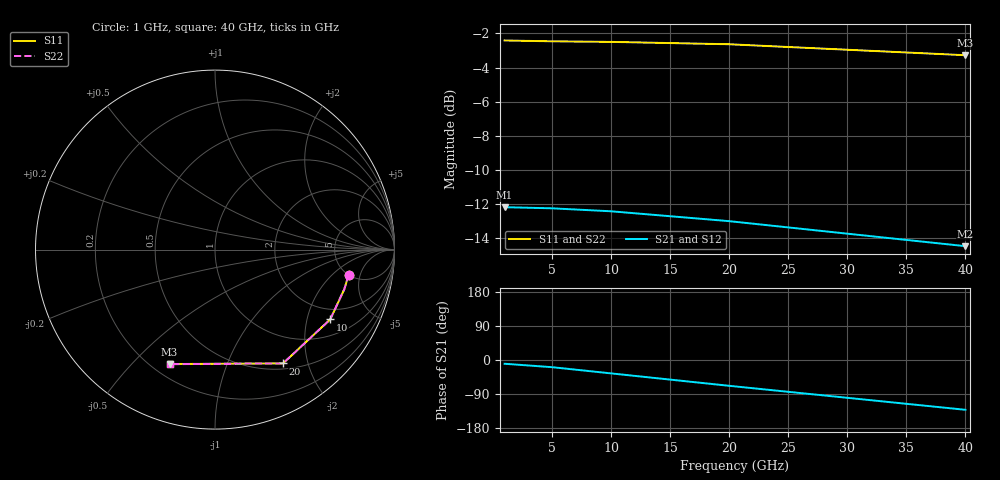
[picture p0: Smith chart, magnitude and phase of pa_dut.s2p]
! Generated by circuitRF - EM: Palace
! circuitRF-EM setup: g_zigzag_sheets
! circuitRF-EM layout: zigzag/layout/zigzag.clay
! circuitRF-EM written: 2026-11-04 16:00:29Z
! circuitRF-EM geometry: 4e1498247edd71e5
! circuitRF-EM mesh: be36879526fbbc1a
! circuitRF-EM ports: 8f8a5211b34b08b4
! circuitRF-EM model: Palace 0.18.1 (0dc74cd, schema 1-7-0)
! Port[1] = port/1
! Port[2] = port/2
! circuitRF-EM port 1: 'port/1' from 'airbox/zmin' to 'Metal1/1', wave (mode 1), 50 Ohm: Palace's S is referred to the mode's own impedance Z_PV, renormalised here to 50 Ohm; reference plane 0 um into the structure from the port face
! circuitRF-EM port 2: 'port/2' from 'airbox/zmin' to 'Metal1/2', wave (mode 1), 50 Ohm: Palace's S is referred to the mode's own impedance Z_PV, renormalised here to 50 Ohm; reference plane 0 um into the structure from the port face
! circuitRF-EM 3D mesh: 14,700 elements initially, 14,700 finally, 0 adaptive pass(es), element order 2
! circuitRF-EM 3D operating temperature: 20 C
! circuitRF-EM 3D run: preset Standard; 14700 -> 14700 tetrahedra; 101994 unknowns; 0 refinement pass(es); 5 frequency sample(s)
! circuitRF-EM 3D run cost: wall 137 s; Palace peak memory 1.8 GB
! circuitRF-EM 3D DC row: circuitRF conduction solve of the conductors, 472 elements, 0.21 s; ports as terminal pairs
! circuitRF-EM: re-running the EM setup rewrites this file. If circuitRF reports it as stale, the layout's cross-section changed after this file was written.
# GHz S RI R 50
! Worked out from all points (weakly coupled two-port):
!   5 points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, 1 GHz to 40 GHz, reference 50 ohm
!   highest |S21| = -12.18 dB at 1 GHz (marker M1); lowest = -14.5 dB at 40 GHz (marker M2)
!   lowest |S11| = -3.3 dB at 40 GHz (marker M3), VSWR 5.37, Z = 13.4 - j32.3 ohm
!   |S11| at or under -10 dB: nowhere
!   |S22| runs from -3.3 to -2.4 dB; largest |S21 - S12| = 1.9e-07
!   S11 on the Smith chart (normalised r, x): 1 GHz: 5.02, -3.31; 10 GHz: 1.56, -2.78; 20 GHz: 0.58, -1.61; 40 GHz: 0.27, -0.65
1  0.7447 -0.1403  0.2424 -0.0424  0.2424 -0.0424  0.7447 -0.1402
5  0.7199 -0.222  0.2311 -0.0791  0.2311 -0.0791  0.72 -0.2218
10  0.6418 -0.3892  0.1954 -0.1383  0.1954 -0.1383  0.642 -0.3888
20  0.3788 -0.6341  0.0836 -0.2078  0.0836 -0.2078  0.3796 -0.6337
40  -0.253 -0.6376  -0.1251 -0.1419  -0.1251 -0.1419  -0.2518 -0.6385
